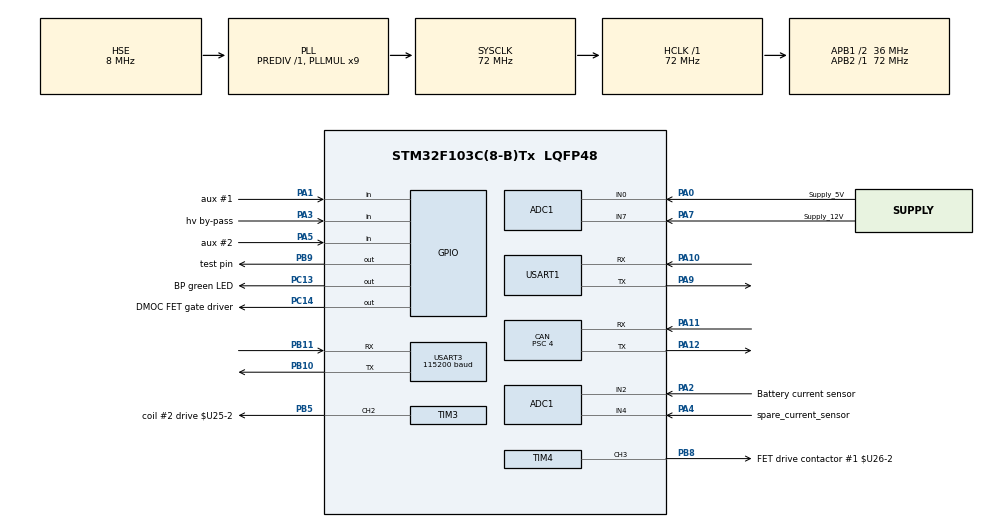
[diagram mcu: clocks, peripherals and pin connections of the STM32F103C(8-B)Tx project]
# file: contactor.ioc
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ADC1.Channel-0\#ChannelRegularConversion=ADC_CHANNEL_0
ADC1.Channel-1\#ChannelRegularConversion=ADC_CHANNEL_2
ADC1.Channel-2\#ChannelRegularConversion=ADC_CHANNEL_4
ADC1.Channel-3\#ChannelRegularConversion=ADC_CHANNEL_7
ADC1.Channel-4\#ChannelRegularConversion=ADC_CHANNEL_TEMPSENSOR
ADC1.Channel-5\#ChannelRegularConversion=ADC_CHANNEL_VREFINT
ADC1.ContinuousConvMode=ENABLE
ADC1.InjNumberOfConversion=0
ADC1.NbrOfConversion=6
ADC1.NbrOfConversionFlag=1
ADC1.Rank-0\#ChannelRegularConversion=1
ADC1.Rank-1\#ChannelRegularConversion=2
ADC1.Rank-2\#ChannelRegularConversion=3
ADC1.Rank-3\#ChannelRegularConversion=4
ADC1.Rank-4\#ChannelRegularConversion=5
ADC1.Rank-5\#ChannelRegularConversion=6
ADC1.SamplingTime-0\#ChannelRegularConversion=ADC_SAMPLETIME_28CYCLES_5
ADC1.SamplingTime-1\#ChannelRegularConversion=ADC_SAMPLETIME_28CYCLES_5
ADC1.SamplingTime-2\#ChannelRegularConversion=ADC_SAMPLETIME_28CYCLES_5
ADC1.SamplingTime-3\#ChannelRegularConversion=ADC_SAMPLETIME_28CYCLES_5
ADC1.SamplingTime-4\#ChannelRegularConversion=ADC_SAMPLETIME_239CYCLES_5
ADC1.SamplingTime-5\#ChannelRegularConversion=ADC_SAMPLETIME_239CYCLES_5
ADC1.master=1
CAN.BS1=CAN_BS1_12TQ
CAN.BS2=CAN_BS2_5TQ
CAN.CalculateTimeBit=2000
CAN.CalculateTimeQuantum=111.11111111111111
CAN.Prescaler=4
CAN.SJW=CAN_SJW_2TQ
Dma.ADC1.2.Direction=DMA_PERIPH_TO_MEMORY
Dma.ADC1.2.Instance=DMA1_Channel1
Dma.ADC1.2.MemDataAlignment=DMA_MDATAALIGN_HALFWORD
Dma.ADC1.2.MemInc=DMA_MINC_ENABLE
Dma.ADC1.2.Mode=DMA_CIRCULAR
Dma.ADC1.2.PeriphDataAlignment=DMA_PDATAALIGN_HALFWORD
Dma.ADC1.2.PeriphInc=DMA_PINC_DISABLE
Dma.ADC1.2.Priority=DMA_PRIORITY_LOW
Dma.Request0=USART1_RX
Dma.Request1=USART1_TX
Dma.Request2=ADC1
Dma.USART1_RX.0.Direction=DMA_PERIPH_TO_MEMORY
Dma.USART1_RX.0.Instance=DMA1_Channel5
Dma.USART1_RX.0.MemDataAlignment=DMA_MDATAALIGN_BYTE
Dma.USART1_RX.0.MemInc=DMA_MINC_ENABLE
Dma.USART1_RX.0.Mode=DMA_CIRCULAR
Dma.USART1_RX.0.PeriphDataAlignment=DMA_PDATAALIGN_BYTE
Dma.USART1_RX.0.PeriphInc=DMA_PINC_DISABLE
Dma.USART1_RX.0.Priority=DMA_PRIORITY_LOW
Dma.USART1_TX.1.Direction=DMA_MEMORY_TO_PERIPH
Dma.USART1_TX.1.Instance=DMA1_Channel4
Dma.USART1_TX.1.MemDataAlignment=DMA_MDATAALIGN_BYTE
Dma.USART1_TX.1.MemInc=DMA_MINC_ENABLE
Dma.USART1_TX.1.Mode=DMA_NORMAL
Dma.USART1_TX.1.PeriphDataAlignment=DMA_PDATAALIGN_BYTE
Dma.USART1_TX.1.PeriphInc=DMA_PINC_DISABLE
Dma.USART1_TX.1.Priority=DMA_PRIORITY_LOW
FREERTOS.INCLUDE_uxTaskGetStackHighWaterMark=1
FREERTOS.INCLUDE_xTaskGetCurrentTaskHandle=1
FREERTOS.INCLUDE_xTaskGetHandle=1
FREERTOS.MEMORY_ALLOCATION=2
FREERTOS.Tasks01=defaultTask,-3,304,StartDefaultTask,Default,NULL,Dynamic,NULL,NULL
FREERTOS.configCHECK_FOR_STACK_OVERFLOW=2
FREERTOS.configTOTAL_HEAP_SIZE=7200
FREERTOS.configUSE_TIMERS=1
Mcu.Family=STM32F1
Mcu.Name=STM32F103C(8-B)Tx
Mcu.Package=LQFP48
NVIC.CAN1_RX1_IRQn=true\:6\:0\:true\:false\:true\:true\:true
NVIC.DMA1_Channel1_IRQn=true\:5\:0\:false\:false\:true\:true\:false
NVIC.DMA1_Channel4_IRQn=true\:5\:0\:false\:false\:true\:true\:false
NVIC.DMA1_Channel5_IRQn=true\:5\:0\:true\:false\:true\:true\:false
NVIC.PriorityGroup=NVIC_PRIORITYGROUP_4
NVIC.TIM2_IRQn=true\:0\:0\:false\:false\:true\:false\:false
NVIC.TimeBase=TIM2_IRQn
NVIC.TimeBaseIP=TIM2
NVIC.USART1_IRQn=true\:10\:0\:true\:false\:true\:true\:true
NVIC.USART3_IRQn=true\:9\:0\:true\:false\:true\:true\:true
NVIC.USB_HP_CAN1_TX_IRQn=true\:6\:0\:true\:false\:true\:true\:true
NVIC.USB_LP_CAN1_RX0_IRQn=true\:6\:0\:true\:false\:true\:true\:true
PA0-WKUP.GPIO_Label=Supply_5V
PA0-WKUP.GPIO_Mode=GPIO_MODE_ANALOG
PA0-WKUP.Signal=ADCx_IN0
PA1.GPIO_Label=aux \#1
PA1.GPIO_PuPd=GPIO_PULLUP
PA1.Signal=GPIO_Input
PA10.Mode=Asynchronous
PA10.Signal=USART1_RX
PA11.Mode=Master
PA11.Signal=CAN_RX
PA12.Mode=Master
PA12.Signal=CAN_TX
PA13.Mode=Serial_Wire
PA13.Signal=SYS_JTMS-SWDIO
PA14.Mode=Serial_Wire
PA14.Signal=SYS_JTCK-SWCLK
PA2.GPIO_Label=Battery current sensor
PA2.Signal=ADCx_IN2
PA3.GPIO_Label=hv by-pass
PA3.GPIO_PuPd=GPIO_PULLUP
PA3.Signal=GPIO_Input
PA4.GPIO_Label=spare_current_sensor
PA4.Signal=ADCx_IN4
PA5.GPIO_Label=aux \#2
PA5.GPIO_PuPd=GPIO_PULLUP
PA5.Signal=GPIO_Input
PA7.GPIO_Label=Supply_12V
PA7.GPIO_Mode=GPIO_MODE_ANALOG
PA7.Signal=ADCx_IN7
PA9.Mode=Asynchronous
PA9.Signal=USART1_TX
PB10.Mode=Asynchronous
PB10.Signal=USART3_TX
PB11.GPIO_PuPd=GPIO_NOPULL
PB11.Mode=Asynchronous
PB11.Signal=USART3_RX
PB5.GPIO_Label=coil \#2 drive $U25-2
PB5.Signal=S_TIM3_CH2
PB8.GPIO_Label=FET drive contactor \#1 $U26-2
PB8.Signal=S_TIM4_CH3
PB9.GPIO_Label=test pin
PB9.Signal=GPIO_Output
PC13-TAMPER-RTC.GPIO_Label=BP green LED
PC13-TAMPER-RTC.Signal=GPIO_Output
PC14-OSC32_IN.GPIO_Label=DMOC FET gate driver
PC14-OSC32_IN.Signal=GPIO_Output
PD0-OSC_IN.Mode=HSE-External-Oscillator
PD0-OSC_IN.Signal=RCC_OSC_IN
PD1-OSC_OUT.Mode=HSE-External-Oscillator
PD1-OSC_OUT.Signal=RCC_OSC_OUT
ProjectManager.HeapSize=0x200
ProjectManager.StackSize=0x400
ProjectManager.TargetToolchain=Makefile
RCC.ADCPresc=RCC_ADCPCLK2_DIV6
RCC.AHBFreq_Value=72000000
RCC.APB1CLKDivider=RCC_HCLK_DIV2
RCC.APB1Freq_Value=36000000
RCC.APB1TimFreq_Value=72000000
RCC.APB2Freq_Value=72000000
RCC.APB2TimFreq_Value=72000000
RCC.HCLKFreq_Value=72000000
RCC.PLLMUL=RCC_PLL_MUL9
RCC.PLLSourceVirtual=RCC_PLLSOURCE_HSE
RCC.SYSCLKFreq_VALUE=72000000
RCC.SYSCLKSource=RCC_SYSCLKSOURCE_PLLCLK
RCC.USBFreq_Value=72000000
SH.ADCx_IN0.0=ADC1_IN0,IN0
SH.ADCx_IN2.0=ADC1_IN2,IN2
SH.ADCx_IN4.0=ADC1_IN4,IN4
SH.ADCx_IN7.0=ADC1_IN7,IN7
SH.S_TIM3_CH2.0=TIM3_CH2,PWM Generation2 CH2
SH.S_TIM4_CH3.0=TIM4_CH3,PWM Generation3 CH3
TIM1.Channel-Output\ Compare1\ No\ Output=TIM_CHANNEL_1
TIM1.Channel-Output\ Compare2\ No\ Output=TIM_CHANNEL_2
TIM1.Channel-Output\ Compare3\ No\ Output=TIM_CHANNEL_3
TIM1.Channel-Output\ Compare4\ No\ Output=TIM_CHANNEL_4
TIM1.Prescaler=36000
TIM3.Channel-PWM\ Generation2\ CH2=TIM_CHANNEL_2
TIM3.Period=14400-1
TIM4.AutoReloadPreload=TIM_AUTORELOAD_PRELOAD_DISABLE
TIM4.Channel-PWM\ Generation3\ CH3=TIM_CHANNEL_3
TIM4.Period=14400-1
USART1.VirtualMode=VM_ASYNC
USART3.BaudRate=115200
USART3.Mode=MODE_RX
USART3.VirtualMode=VM_ASYNC
VP_ADC1_TempSens_Input.Mode=IN-TempSens
VP_ADC1_Vref_Input.Mode=IN-Vrefint
VP_FREERTOS_VS_ENABLE.Mode=Enabled
VP_SYS_VS_tim2.Mode=TIM2
VP_TIM1_VS_ClockSourceINT.Mode=Internal
VP_TIM1_VS_no_output1.Mode=Output Compare1 No Output
VP_TIM1_VS_no_output2.Mode=Output Compare2 No Output
VP_TIM1_VS_no_output3.Mode=Output Compare3 No Output
VP_TIM1_VS_no_output4.Mode=Output Compare4 No Output
VP_TIM3_VS_ClockSourceINT.Mode=Internal
VP_TIM4_VS_ClockSourceINT.Mode=Internal
board=custom

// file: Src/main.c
/* USER CODE BEGIN Header */
/**
  ******************************************************************************
  * @file           : main.c
  * @brief          : Main program body
  ******************************************************************************
  * This notice applies to any and all portions of this file
  * that are not between comment pairs USER CODE BEGIN and
  * USER CODE END. Other portions of this file, whether
  * inserted by the user or by software development tools
  * are owned by their respective copyright owners.
  *
  * Copyright (c) 2019 STMicroelectronics International N.V.
  * All rights reserved.
  *
  * Redistribution and use in source and binary forms, with or without
  * modification, are permitted, provided that the following conditions are met:
  *
  * 1. Redistribution of source code must retain the above copyright notice,
  *    this list of conditions and the following disclaimer.
  * 2. Redistributions in binary form must reproduce the above copyright notice,
  *    this list of conditions and the following disclaimer in the documentation
  *    and/or other materials provided with the distribution.
  * 3. Neither the name of STMicroelectronics nor the names of other
  *    contributors to this software may be used to endorse or promote products
  *    derived from this software without specific written permission.
  * 4. This software, including modifications and/or derivative works of this
  *    software, must execute solely and exclusively on microcontroller or
  *    microprocessor devices manufactured by or for STMicroelectronics.
  * 5. Redistribution and use of this software other than as permitted under
  *    this license is void and will automatically terminate your rights under
  *    this license.
  *
  * THIS SOFTWARE IS PROVIDED BY STMICROELECTRONICS AND CONTRIBUTORS "AS IS"
  * AND ANY EXPRESS, IMPLIED OR STATUTORY WARRANTIES, INCLUDING, BUT NOT
  * LIMITED TO, THE IMPLIED WARRANTIES OF MERCHANTABILITY, FITNESS FOR A
  * PARTICULAR PURPOSE AND NON-INFRINGEMENT OF THIRD PARTY INTELLECTUAL PROPERTY
  * RIGHTS ARE DISCLAIMED TO THE FULLEST EXTENT PERMITTED BY LAW. IN NO EVENT
  * SHALL STMICROELECTRONICS OR CONTRIBUTORS BE LIABLE FOR ANY DIRECT, INDIRECT,
  * INCIDENTAL, SPECIAL, EXEMPLARY, OR CONSEQUENTIAL DAMAGES (INCLUDING, BUT NOT
  * LIMITED TO, PROCUREMENT OF SUBSTITUTE GOODS OR SERVICES; LOSS OF USE, DATA,
  * OR PROFITS; OR BUSINESS INTERRUPTION) HOWEVER CAUSED AND ON ANY THEORY OF
  * LIABILITY, WHETHER IN CONTRACT, STRICT LIABILITY, OR TORT (INCLUDING
  * NEGLIGENCE OR OTHERWISE) ARISING IN ANY WAY OUT OF THE USE OF THIS SOFTWARE,
  * EVEN IF ADVISED OF THE POSSIBILITY OF SUCH DAMAGE.
  *
  ******************************************************************************
  */
/* USER CODE END Header */

#include "main.h"
#include "cmsis_os.h"

/* USER CODE BEGIN Includes */

#include "stm32f1xx_hal.h"
#include <string.h>
#include "SerialTaskSend.h"
#include "SerialTaskReceive.h"
#include "CanTask.h"
#include "can_iface.h"
#include "canfilter_setup.h"
#include "getserialbuf.h"
#include "stackwatermark.h"
#include "yprintf.h"
#include "gateway_comm.h"
#include "gateway_CANtoPC.h"
#include "DTW_counter.h"
#include "yscanf.h"
#include "adctask.h"
#include "ADCTask.h"
#include "adcparams.h"
#include "adcparamsinit.h"
#include "gateway_PCtoCAN.h"
#include "morse.h"
#include "MailboxTask.h"
#include "GatewayTask.h"
#include "ContactorTask.h"

/* USER CODE END Includes */

/* USER CODE BEGIN PTD */
struct CAN_CTLBLOCK* pctl0;	// Pointer to CAN1 control block

uint32_t debugTX1c;
uint32_t debugTX1c_prev;

uint32_t debug03;
uint32_t debug03_prev;

extern osThreadId SerialTaskHandle;
extern osThreadId SerialTaskReceiveHandle;
extern osThreadId CanTxTaskHandle;
extern osThreadId CanRxTaskHandle;
extern osThreadId GatewayTaskHandle;
extern osThreadId ADCTaskHandle;

uint16_t m_trap = 440;

uint8_t canflag;
uint8_t canflag1;

/* USER CODE END PTD */

ADC_HandleTypeDef hadc1;
DMA_HandleTypeDef hdma_adc1;

CAN_HandleTypeDef hcan;

TIM_HandleTypeDef htim1;
TIM_HandleTypeDef htim3;
TIM_HandleTypeDef htim4;

UART_HandleTypeDef huart1;
UART_HandleTypeDef huart3;
DMA_HandleTypeDef hdma_usart1_rx;
DMA_HandleTypeDef hdma_usart1_tx;

osThreadId defaultTaskHandle;

void SystemClock_Config(void);
static void MX_GPIO_Init(void);
static void MX_DMA_Init(void);
static void MX_CAN_Init(void);
static void MX_USART3_UART_Init(void);
static void MX_USART1_UART_Init(void);
static void MX_ADC1_Init(void);
static void MX_TIM4_Init(void);
static void MX_TIM1_Init(void);
static void MX_TIM3_Init(void);
void StartDefaultTask(void const * argument);

int main(void)
{
  /* USER CODE BEGIN 1 */
	BaseType_t ret;	   // Used for returns from function calls
	osMessageQId Qidret; // Function call return
	osThreadId Thrdret;
  /* USER CODE END 1 */

  /* MCU Configuration--------------------------------------------------------*/

  /* Reset of all peripherals, Initializes the Flash interface and the Systick. */
  HAL_Init();

  /* USER CODE BEGIN Init */
	DTW_counter_init();
  /* USER CODE END Init */

  /* Configure the system clock */
  SystemClock_Config();

  /* Initialize all configured peripherals */
  MX_GPIO_Init();
  MX_DMA_Init();
  MX_CAN_Init();
  MX_USART3_UART_Init();
  MX_USART1_UART_Init();
  MX_ADC1_Init();
  MX_TIM4_Init();
  MX_TIM1_Init();
  MX_TIM3_Init();
  /* USER CODE BEGIN 2 */

	if (hcan.ErrorCode != HAL_CAN_ERROR_NONE)
	{ // CAN init returned with an error
		if ((hcan.ErrorCode & HAL_CAN_ERROR_TIMEOUT) != 0)
			morse_trap(61);
		else
			morse_trap(62);
	}

  /* USER CODE END 2 */

  /* Create the thread(s) */
  /* definition and creation of defaultTask */
  osThreadDef(defaultTask, StartDefaultTask, osPriorityIdle, 0, 304);
  defaultTaskHandle = osThreadCreate(osThread(defaultTask), NULL);

  /* USER CODE BEGIN RTOS_THREADS */
  /* add threads, ... */
/* =================================================== */

	/* Create serial task (priority) */
	// Task handle "osThreadId SerialTaskHandle" is global
	Thrdret = xSerialTaskSendCreate(0);	// Create task and set Task priority
	if (Thrdret == NULL) morse_trap(17);

	/* Add bcb circular buffer to SerialTaskSend for usart1 */
	#define NUMCIRBCB1  16 // Size of circular buffer of BCB for usart6
	ret = xSerialTaskSendAdd(&huart1, NUMCIRBCB1, 1); // dma
	if (ret < 0) morse_trap(1); // Panic LED flashing

	/* Add bcb circular buffer to SerialTaskSend for usart3 */
	#define NUMCIRBCB3  16 // Size of circular buffer of BCB for usart3
	ret = xSerialTaskSendAdd(&huart3, NUMCIRBCB3, 0); // char-by-char
	if (ret < 0) morse_trap(2); // Panic LED flashing

	/* Setup semaphore for yprint and sprintf et al. */
	yprintf_init();

	/* Create serial receiving task. */
	Thrdret = xSerialTaskReceiveCreate(1);
	if (Thrdret == NULL) morse_trap(21);

  /* definition and creation of CanTxTask - CAN driver TX interface. */
  Qidret = xCanTxTaskCreate(1, 32); // CanTask priority, Number of msgs in queue
	if (Qidret < 0) morse_trap(5);   // Queue creation
	if (CanTxTaskHandle == NULL) morse_trap(51); // Task creation

  /* definition and creation of CanRxTask - CAN driver RX interface. */
//  Qidret = xCanRxTaskCreate(1, 32); // CanTask priority, Number of msgs in extern osThreadId SerialTaskReceiveHandle;queue
//	if (Qidret < 0) morse_trap(6);     // Queue creation
//	if (CanRxTaskHandle == NULL) morse_trap(61); // Task creation

	/* Setup TX linked list for CAN  */
   // CAN1 (CAN_HandleTypeDef *phcan, uint8_t canidx, uint16_t numtx, uint16_t numrx);
	pctl0 = can_iface_init(&hcan, 0, 32, 64);
	if (pctl0 == NULL) morse_trap(7); // Panic LED flashing
	if (pctl0->ret < 0) morse_trap(77);

	/* Setup CAN hardware filters to default to accept all ids. */
	HAL_StatusTypeDef Cret;
	Cret = canfilter_setup_first(1, &hcan, 15); // CAN1
	if (Cret == HAL_ERROR) morse_trap(9);

	/* Remove "accept all" CAN msgs and add specific id & mask, or id here. */
	// See canfilter_setup.h

	/* Contactor control. */
	Thrdret = xContactorTaskCreate(1);
	if (Thrdret == NULL) morse_trap(18);

	/* Create MailboxTask */
	Thrdret = xMailboxTaskCreate(3);
	if (Thrdret == NULL) morse_trap(19);

	/* Create Mailbox control block w 'take' pointer for each CAN module. */
	struct MAILBOXCANNUM* pmbxret;
	// (CAN1 control block pointer, size of circular buffer)
	pmbxret = MailboxTask_add_CANlist(pctl0, 16);
	if (pmbxret == NULL) morse_trap(16);

	/* Select interrupts for CAN1 */
	HAL_CAN_ActivateNotification(&hcan, \
		CAN_IT_TX_MAILBOX_EMPTY     |  \
		CAN_IT_RX_FIFO0_MSG_PENDING |  \
		CAN_IT_RX_FIFO1_MSG_PENDING    );

	/* Start CANs */
	HAL_CAN_Start(&hcan); // CAN1

	/* ADC summing, calibration, etc. */
	Thrdret = 	xADCTaskCreate(2);
	if (Thrdret == NULL) morse_trap(20);

/* =================================================== */

  /* USER CODE END RTOS_THREADS */

  /* Start scheduler */
  osKernelStart();

  /* We should never get here as control is now taken by the scheduler */

  /* Infinite loop */
  while (1)
  {

  }
}

void SystemClock_Config(void)
{
  RCC_OscInitTypeDef RCC_OscInitStruct = {0};
  RCC_ClkInitTypeDef RCC_ClkInitStruct = {0};
  RCC_PeriphCLKInitTypeDef PeriphClkInit = {0};

  /**Initializes the CPU, AHB and APB busses clocks
  */
  RCC_OscInitStruct.OscillatorType = RCC_OSCILLATORTYPE_HSE;
  RCC_OscInitStruct.HSEState = RCC_HSE_ON;
  RCC_OscInitStruct.HSEPredivValue = RCC_HSE_PREDIV_DIV1;
  RCC_OscInitStruct.HSIState = RCC_HSI_ON;
  RCC_OscInitStruct.PLL.PLLState = RCC_PLL_ON;
  RCC_OscInitStruct.PLL.PLLSource = RCC_PLLSOURCE_HSE;
  RCC_OscInitStruct.PLL.PLLMUL = RCC_PLL_MUL9;
  if (HAL_RCC_OscConfig(&RCC_OscInitStruct) != HAL_OK)
  {
    Error_Handler();
  }
  /**Initializes the CPU, AHB and APB busses clocks
  */
  RCC_ClkInitStruct.ClockType = RCC_CLOCKTYPE_HCLK|RCC_CLOCKTYPE_SYSCLK
                              |RCC_CLOCKTYPE_PCLK1|RCC_CLOCKTYPE_PCLK2;
  RCC_ClkInitStruct.SYSCLKSource = RCC_SYSCLKSOURCE_PLLCLK;
  RCC_ClkInitStruct.AHBCLKDivider = RCC_SYSCLK_DIV1;
  RCC_ClkInitStruct.APB1CLKDivider = RCC_HCLK_DIV2;
  RCC_ClkInitStruct.APB2CLKDivider = RCC_HCLK_DIV1;

  if (HAL_RCC_ClockConfig(&RCC_ClkInitStruct, FLASH_LATENCY_2) != HAL_OK)
  {
    Error_Handler();
  }
  PeriphClkInit.PeriphClockSelection = RCC_PERIPHCLK_ADC;
  PeriphClkInit.AdcClockSelection = RCC_ADCPCLK2_DIV6;
  if (HAL_RCCEx_PeriphCLKConfig(&PeriphClkInit) != HAL_OK)
  {
    Error_Handler();
  }
}

static void MX_ADC1_Init(void)
{

  /* USER CODE BEGIN ADC1_Init 0 */
	m_trap = 447; // morse_trap(447);
  /* USER CODE END ADC1_Init 0 */

  ADC_ChannelConfTypeDef sConfig = {0};

  /**Common config
  */
  hadc1.Instance = ADC1;
  hadc1.Init.ScanConvMode = ADC_SCAN_ENABLE;
  hadc1.Init.ContinuousConvMode = ENABLE;
  hadc1.Init.DiscontinuousConvMode = DISABLE;
  hadc1.Init.ExternalTrigConv = ADC_SOFTWARE_START;
  hadc1.Init.DataAlign = ADC_DATAALIGN_RIGHT;
  hadc1.Init.NbrOfConversion = 6;
  if (HAL_ADC_Init(&hadc1) != HAL_OK)
  {
    Error_Handler();
  }
  /**Configure Regular Channel
  */
  sConfig.Channel = ADC_CHANNEL_0;
  sConfig.Rank = ADC_REGULAR_RANK_1;
  sConfig.SamplingTime = ADC_SAMPLETIME_28CYCLES_5;
  if (HAL_ADC_ConfigChannel(&hadc1, &sConfig) != HAL_OK)
  {
    Error_Handler();
  }
  /**Configure Regular Channel
  */
  sConfig.Channel = ADC_CHANNEL_2;
  sConfig.Rank = ADC_REGULAR_RANK_2;
  if (HAL_ADC_ConfigChannel(&hadc1, &sConfig) != HAL_OK)
  {
    Error_Handler();
  }
  /**Configure Regular Channel
  */
  sConfig.Channel = ADC_CHANNEL_4;
  sConfig.Rank = ADC_REGULAR_RANK_3;
  if (HAL_ADC_ConfigChannel(&hadc1, &sConfig) != HAL_OK)
  {
    Error_Handler();
  }
  /**Configure Regular Channel
  */
  sConfig.Channel = ADC_CHANNEL_7;
  sConfig.Rank = ADC_REGULAR_RANK_4;
  if (HAL_ADC_ConfigChannel(&hadc1, &sConfig) != HAL_OK)
  {
    Error_Handler();
  }
  /**Configure Regular Channel
  */
  sConfig.Channel = ADC_CHANNEL_TEMPSENSOR;
  sConfig.Rank = ADC_REGULAR_RANK_5;
  sConfig.SamplingTime = ADC_SAMPLETIME_239CYCLES_5;
  if (HAL_ADC_ConfigChannel(&hadc1, &sConfig) != HAL_OK)
  {
    Error_Handler();
  }
  /**Configure Regular Channel
  */
  sConfig.Channel = ADC_CHANNEL_VREFINT;
  sConfig.Rank = ADC_REGULAR_RANK_6;
  if (HAL_ADC_ConfigChannel(&hadc1, &sConfig) != HAL_OK)
  {
    Error_Handler();
  }

}

static void MX_CAN_Init(void)
{

  /* USER CODE BEGIN CAN_Init 0 */
	m_trap = 446; // morse_trap(446);
  /* USER CODE END CAN_Init 0 */

  hcan.Instance = CAN1;
  hcan.Init.Prescaler = 4;
  hcan.Init.Mode = CAN_MODE_NORMAL;
  hcan.Init.SyncJumpWidth = CAN_SJW_2TQ;
  hcan.Init.TimeSeg1 = CAN_BS1_12TQ;
  hcan.Init.TimeSeg2 = CAN_BS2_5TQ;
  hcan.Init.TimeTriggeredMode = DISABLE;
  hcan.Init.AutoBusOff = DISABLE;
  hcan.Init.AutoWakeUp = DISABLE;
  hcan.Init.AutoRetransmission = DISABLE;
  hcan.Init.ReceiveFifoLocked = DISABLE;
  hcan.Init.TransmitFifoPriority = DISABLE;
  if (HAL_CAN_Init(&hcan) != HAL_OK)
  {
    Error_Handler();
  }

}

static void MX_TIM1_Init(void)
{

  /* USER CODE BEGIN TIM1_Init 0 */
	m_trap = 445; // morse_trap(445);
  /* USER CODE END TIM1_Init 0 */

  TIM_ClockConfigTypeDef sClockSourceConfig = {0};
  TIM_MasterConfigTypeDef sMasterConfig = {0};
  TIM_OC_InitTypeDef sConfigOC = {0};
  TIM_BreakDeadTimeConfigTypeDef sBreakDeadTimeConfig = {0};

  htim1.Instance = TIM1;
  htim1.Init.Prescaler = 36000;
  htim1.Init.CounterMode = TIM_COUNTERMODE_UP;
  htim1.Init.Period = 0;
  htim1.Init.ClockDivision = TIM_CLOCKDIVISION_DIV1;
  htim1.Init.RepetitionCounter = 0;
  htim1.Init.AutoReloadPreload = TIM_AUTORELOAD_PRELOAD_DISABLE;
  if (HAL_TIM_Base_Init(&htim1) != HAL_OK)
  {
    Error_Handler();
  }
  sClockSourceConfig.ClockSource = TIM_CLOCKSOURCE_INTERNAL;
  if (HAL_TIM_ConfigClockSource(&htim1, &sClockSourceConfig) != HAL_OK)
  {
    Error_Handler();
  }
  if (HAL_TIM_OC_Init(&htim1) != HAL_OK)
  {
    Error_Handler();
  }
  sMasterConfig.MasterOutputTrigger = TIM_TRGO_RESET;
  sMasterConfig.MasterSlaveMode = TIM_MASTERSLAVEMODE_DISABLE;
  if (HAL_TIMEx_MasterConfigSynchronization(&htim1, &sMasterConfig) != HAL_OK)
  {
    Error_Handler();
  }
  sConfigOC.OCMode = TIM_OCMODE_TIMING;
  sConfigOC.Pulse = 0;
  sConfigOC.OCPolarity = TIM_OCPOLARITY_HIGH;
  sConfigOC.OCNPolarity = TIM_OCNPOLARITY_HIGH;
  sConfigOC.OCFastMode = TIM_OCFAST_DISABLE;
  sConfigOC.OCIdleState = TIM_OCIDLESTATE_RESET;
  sConfigOC.OCNIdleState = TIM_OCNIDLESTATE_RESET;
  if (HAL_TIM_OC_ConfigChannel(&htim1, &sConfigOC, TIM_CHANNEL_1) != HAL_OK)
  {
    Error_Handler();
  }
  if (HAL_TIM_OC_ConfigChannel(&htim1, &sConfigOC, TIM_CHANNEL_2) != HAL_OK)
  {
    Error_Handler();
  }
  if (HAL_TIM_OC_ConfigChannel(&htim1, &sConfigOC, TIM_CHANNEL_3) != HAL_OK)
  {
    Error_Handler();
  }
  if (HAL_TIM_OC_ConfigChannel(&htim1, &sConfigOC, TIM_CHANNEL_4) != HAL_OK)
  {
    Error_Handler();
  }
  sBreakDeadTimeConfig.OffStateRunMode = TIM_OSSR_DISABLE;
  sBreakDeadTimeConfig.OffStateIDLEMode = TIM_OSSI_DISABLE;
  sBreakDeadTimeConfig.LockLevel = TIM_LOCKLEVEL_OFF;
  sBreakDeadTimeConfig.DeadTime = 0;
  sBreakDeadTimeConfig.BreakState = TIM_BREAK_DISABLE;
  sBreakDeadTimeConfig.BreakPolarity = TIM_BREAKPOLARITY_HIGH;
  sBreakDeadTimeConfig.AutomaticOutput = TIM_AUTOMATICOUTPUT_DISABLE;
  if (HAL_TIMEx_ConfigBreakDeadTime(&htim1, &sBreakDeadTimeConfig) != HAL_OK)
  {
    Error_Handler();
  }

}

static void MX_TIM3_Init(void)
{

  /* USER CODE BEGIN TIM3_Init 0 */
	m_trap = 444; // morse_trap(444);
  /* USER CODE END TIM3_Init 0 */

  TIM_ClockConfigTypeDef sClockSourceConfig = {0};
  TIM_MasterConfigTypeDef sMasterConfig = {0};
  TIM_OC_InitTypeDef sConfigOC = {0};

  htim3.Instance = TIM3;
  htim3.Init.Prescaler = 0;
  htim3.Init.CounterMode = TIM_COUNTERMODE_UP;
  htim3.Init.Period = 14400-1;
  htim3.Init.ClockDivision = TIM_CLOCKDIVISION_DIV1;
  htim3.Init.AutoReloadPreload = TIM_AUTORELOAD_PRELOAD_DISABLE;
  if (HAL_TIM_Base_Init(&htim3) != HAL_OK)
  {
    Error_Handler();
  }
  sClockSourceConfig.ClockSource = TIM_CLOCKSOURCE_INTERNAL;
  if (HAL_TIM_ConfigClockSource(&htim3, &sClockSourceConfig) != HAL_OK)
  {
    Error_Handler();
  }
  if (HAL_TIM_PWM_Init(&htim3) != HAL_OK)
  {
    Error_Handler();
  }
  sMasterConfig.MasterOutputTrigger = TIM_TRGO_RESET;
  sMasterConfig.MasterSlaveMode = TIM_MASTERSLAVEMODE_DISABLE;
  if (HAL_TIMEx_MasterConfigSynchronization(&htim3, &sMasterConfig) != HAL_OK)
  {
    Error_Handler();
  }
  sConfigOC.OCMode = TIM_OCMODE_PWM1;
  sConfigOC.Pulse = 0;
  sConfigOC.OCPolarity = TIM_OCPOLARITY_HIGH;
  sConfigOC.OCFastMode = TIM_OCFAST_DISABLE;
  if (HAL_TIM_PWM_ConfigChannel(&htim3, &sConfigOC, TIM_CHANNEL_2) != HAL_OK)
  {
    Error_Handler();
  }
  HAL_TIM_MspPostInit(&htim3);

}

static void MX_TIM4_Init(void)
{

  /* USER CODE BEGIN TIM4_Init 0 */
	m_trap = 443; // morse_trap(443);
  /* USER CODE END TIM4_Init 0 */

  TIM_ClockConfigTypeDef sClockSourceConfig = {0};
  TIM_MasterConfigTypeDef sMasterConfig = {0};
  TIM_OC_InitTypeDef sConfigOC = {0};

  htim4.Instance = TIM4;
  htim4.Init.Prescaler = 0;
  htim4.Init.CounterMode = TIM_COUNTERMODE_UP;
  htim4.Init.Period = 14400-1;
  htim4.Init.ClockDivision = TIM_CLOCKDIVISION_DIV1;
  htim4.Init.AutoReloadPreload = TIM_AUTORELOAD_PRELOAD_DISABLE;
  if (HAL_TIM_Base_Init(&htim4) != HAL_OK)
  {
    Error_Handler();
  }
  sClockSourceConfig.ClockSource = TIM_CLOCKSOURCE_INTERNAL;
  if (HAL_TIM_ConfigClockSource(&htim4, &sClockSourceConfig) != HAL_OK)
  {
    Error_Handler();
  }
  if (HAL_TIM_PWM_Init(&htim4) != HAL_OK)
  {
    Error_Handler();
  }
  sMasterConfig.MasterOutputTrigger = TIM_TRGO_RESET;
  sMasterConfig.MasterSlaveMode = TIM_MASTERSLAVEMODE_DISABLE;
  if (HAL_TIMEx_MasterConfigSynchronization(&htim4, &sMasterConfig) != HAL_OK)
  {
    Error_Handler();
  }
  sConfigOC.OCMode = TIM_OCMODE_PWM1;
  sConfigOC.Pulse = 0;
  sConfigOC.OCPolarity = TIM_OCPOLARITY_HIGH;
  sConfigOC.OCFastMode = TIM_OCFAST_DISABLE;
  if (HAL_TIM_PWM_ConfigChannel(&htim4, &sConfigOC, TIM_CHANNEL_3) != HAL_OK)
  {
    Error_Handler();
  }
  HAL_TIM_MspPostInit(&htim4);

}

static void MX_USART1_UART_Init(void)
{

  /* USER CODE BEGIN USART1_Init 0 */
	m_trap = 442; // morse_trap(442);
  /* USER CODE END USART1_Init 0 */

  huart1.Instance = USART1;
  huart1.Init.BaudRate = 115200;
  huart1.Init.WordLength = UART_WORDLENGTH_8B;
  huart1.Init.StopBits = UART_STOPBITS_1;
  huart1.Init.Parity = UART_PARITY_NONE;
  huart1.Init.Mode = UART_MODE_TX_RX;
  huart1.Init.HwFlowCtl = UART_HWCONTROL_NONE;
  huart1.Init.OverSampling = UART_OVERSAMPLING_16;
  if (HAL_UART_Init(&huart1) != HAL_OK)
  {
    Error_Handler();
  }

}

static void MX_USART3_UART_Init(void)
{

  /* USER CODE BEGIN USART3_Init 0 */
	m_trap = 441; // morse_trap(441);
  /* USER CODE END USART3_Init 0 */

  huart3.Instance = USART3;
  huart3.Init.BaudRate = 115200;
  huart3.Init.WordLength = UART_WORDLENGTH_8B;
  huart3.Init.StopBits = UART_STOPBITS_1;
  huart3.Init.Parity = UART_PARITY_NONE;
  huart3.Init.Mode = UART_MODE_RX;
  huart3.Init.HwFlowCtl = UART_HWCONTROL_NONE;
  huart3.Init.OverSampling = UART_OVERSAMPLING_16;
  if (HAL_UART_Init(&huart3) != HAL_OK)
  {
    Error_Handler();
  }

}

static void MX_DMA_Init(void)
{
  /* DMA controller clock enable */
  __HAL_RCC_DMA1_CLK_ENABLE();

  /* DMA interrupt init */
  /* DMA1_Channel1_IRQn interrupt configuration */
  HAL_NVIC_SetPriority(DMA1_Channel1_IRQn, 5, 0);
  HAL_NVIC_EnableIRQ(DMA1_Channel1_IRQn);
  /* DMA1_Channel4_IRQn interrupt configuration */
  HAL_NVIC_SetPriority(DMA1_Channel4_IRQn, 5, 0);
  HAL_NVIC_EnableIRQ(DMA1_Channel4_IRQn);
  /* DMA1_Channel5_IRQn interrupt configuration */
  HAL_NVIC_SetPriority(DMA1_Channel5_IRQn, 5, 0);
  HAL_NVIC_EnableIRQ(DMA1_Channel5_IRQn);

}

static void MX_GPIO_Init(void)
{
  GPIO_InitTypeDef GPIO_InitStruct = {0};

  /* GPIO Ports Clock Enable */
  __HAL_RCC_GPIOC_CLK_ENABLE();
  __HAL_RCC_GPIOD_CLK_ENABLE();
  __HAL_RCC_GPIOA_CLK_ENABLE();
  __HAL_RCC_GPIOB_CLK_ENABLE();

  /*Configure GPIO pin Output Level */
  HAL_GPIO_WritePin(GPIOC, BP_green_LED_Pin|DMOC_FET_gate_driver_Pin, GPIO_PIN_RESET);

  /*Configure GPIO pin Output Level */
  HAL_GPIO_WritePin(test_pin_GPIO_Port, test_pin_Pin, GPIO_PIN_RESET);

  /*Configure GPIO pins : BP_green_LED_Pin DMOC_FET_gate_driver_Pin */
  GPIO_InitStruct.Pin = BP_green_LED_Pin|DMOC_FET_gate_driver_Pin;
  GPIO_InitStruct.Mode = GPIO_MODE_OUTPUT_PP;
  GPIO_InitStruct.Pull = GPIO_NOPULL;
  GPIO_InitStruct.Speed = GPIO_SPEED_FREQ_LOW;
  HAL_GPIO_Init(GPIOC, &GPIO_InitStruct);

  /*Configure GPIO pins : aux__1_Pin hv_by_pass_Pin aux__2_Pin */
  GPIO_InitStruct.Pin = aux__1_Pin|hv_by_pass_Pin|aux__2_Pin;
  GPIO_InitStruct.Mode = GPIO_MODE_INPUT;
  GPIO_InitStruct.Pull = GPIO_PULLUP;
  HAL_GPIO_Init(GPIOA, &GPIO_InitStruct);

  /*Configure GPIO pin : test_pin_Pin */
  GPIO_InitStruct.Pin = test_pin_Pin;
  GPIO_InitStruct.Mode = GPIO_MODE_OUTPUT_PP;
  GPIO_InitStruct.Pull = GPIO_NOPULL;
  GPIO_InitStruct.Speed = GPIO_SPEED_FREQ_LOW;
  HAL_GPIO_Init(test_pin_GPIO_Port, &GPIO_InitStruct);

}

void StartDefaultTask(void const * argument)
{

  /* USER CODE BEGIN 5 */
	struct SERIALSENDTASKBCB* pbuf1 = getserialbuf(&huart1,96);
	if (pbuf1 == NULL) morse_trap(11);

	int ctr = 0; // Running count
	uint32_t heapsize;

// Copy of fast sum of ADC readings
int i;

// Number ADC readings per sec: 1153-1154.
extern uint32_t adcsumdb[6];// DMA sums
//extern uint32_t adcdbctr; // ADC DMA sum counter
double dt1;

extern struct CONTACTORFUNCTION contactorfunction;
struct CONTACTORFUNCTION* pcf = &contactorfunction;

osDelay(50); // Allow ADC task to get these initialized

// Temperature precomputed ratio check
if (pcf->padc->intern.dx25 < 0.1) morse_trap(48);

//double dxdvref = pcf->padc->intern.dvref * (1.0/4.3E-3);
if (pcf->padc->intern.dxdvref < 0.1) morse_trap(49);

// DTW time duration checks
extern uint32_t adcdbg2;

extern uint32_t dbgCE1;
uint32_t dbgCE1_prev = dbgCE1;

#define LOOPDELAY 1000

  /* Infinite loop */
  for(;;)
  {
	osDelay(LOOPDELAY);
//while( (dbggpsflag-dbggpsflag_prev) == 0);
//dbggpsflag_prev = dbggpsflag;

	HAL_GPIO_TogglePin(GPIOC,GPIO_PIN_13); // LED Green

#define SHOWSTACKWATERMARK
#ifdef SHOWSTACKWATERMARK
			// Following takes 1370791 sysclock ticks 19.0 ms (includes serial port wait)
			/* Display the amount of unused stack space for tasks. */
			yprintf(&pbuf1,"\n\n\r#%4i Unused Task stack space--", ctr++);
			stackwatermark_show(defaultTaskHandle,&pbuf1,"defaultTask---");
			stackwatermark_show(SerialTaskHandle ,&pbuf1,"SerialTaskSend");
			stackwatermark_show(CanTxTaskHandle  ,&pbuf1,"CanTxTask-----");
	//		stackwatermark_show(CanRxTaskHandle  ,&pbuf1,"CanRxTask-----");
			stackwatermark_show(MailboxTaskHandle,&pbuf1,"MailboxTask---");
			stackwatermark_show(ADCTaskHandle    ,&pbuf1,"ADCTask-------");
 		 stackwatermark_show(ContactorTaskHandle,&pbuf1,"ContactorTask-");
	stackwatermark_show(SerialTaskReceiveHandle,&pbuf1,"SerialReceiveTask");

			/* Heap usage (and test fp woking. */
  #define HEAPSIZELIST
  #ifdef  HEAPSIZELIST
			heapsize = xPortGetFreeHeapSize();
			yprintf(&pbuf1,"\n\r#GetFreeHeapSize: total: %i free %i %3.1f%% used: %i\n\n\r",configTOTAL_HEAP_SIZE, heapsize,\
				100.0*(float)heapsize/configTOTAL_HEAP_SIZE,(configTOTAL_HEAP_SIZE-heapsize));
  #endif

#endif

#define SHOWSUMMEDADCCHANNELS
#ifdef  SHOWSUMMEDADCCHANNELS
		for (i = 0; i < 6; i++)
		{
			yprintf(&pbuf1,"%7i ",adcsumdb[i]); // This is what routines work with
		}
		yprintf(&pbuf1, " :%7i %8.1f\n\r ", pcf->padc->intern.adcfiltemp, (double)(pcf->padc->intern.adcfilvref)/pcf->padc->intern.iiradcvref.pprm->scale);
#endif

#define SHOWEXTENDEDSUMMEDADCCHANNELS
#ifdef  SHOWEXTENDEDSUMMEDADCCHANNELS
		yprintf(&pbuf1, "\n\r     5v    cur1    cur2     12v    temp    vref\n\rA ");
		// Following loop takes about 450000 sysclock ticks 6.2 ms (includes waits for serial port)
		for (i = 0; i < 6; i++)
		{
			yprintf(&pbuf1,"%8.1f",(double)(pcf->padc->chan[i].xsum[1])*(1.0/ADCEXTENDSUMCT));
		}
		yprintf(&pbuf1,"\n\r");
#endif

#define SHOWINTERNALTEMPERATURECALCULATIONS
#ifdef SHOWINTERNALTEMPERATURECALCULATIONS
	/* Internal temperature computation check. */
	// The following takes 1418 sysclock ticks
	dt1 = (pcf->padc->intern.dx25 - (pcf->padc->intern.dxdvref * ((double)pcf->padc->intern.adcfiltemp / (double)pcf->padc->intern.adcfilvref )))  + pcf->padc->lc.calintern.drmtemp;

	yprintf(&pbuf1,"\n\rT degC: (doubles)%6.2f %6.2f (scaled int)%i\n\r", dt1,(double)pcf->padc->intern.itemp/(1<<ADCSCALEbits), adcdbg2,pcf->padc->intern.adccmpvref);
#endif

//      pcf->padc->chan[ADC1IDX_5VOLTSUPPLY].ival,  pcf->padc->v5.adcfil,
//      pcf->padc->chan[ADC1IDX_12VRAWSUPPLY].ival, pcf->padc->v12.adcfil,
//#define SHOWADCDETAILS
#ifdef  SHOWADCDETAILS
	yprintf(&pbuf1,"\n\r%i %i %i %i %i %0.6f %0.4f : %0.4f\n\r",
      pcf->padc->v12.ival,
      pcf->padc->intern.adcfilvref,
      pcf->padc->intern.vref,
	   pcf->padc->v12.adcfil,
	   pcf->padc->lc.calintern.adcvdd,
      pcf->padc->v12.k,
      (pcf->padc->v12.k * (double)pcf->padc->v12.ival * (1.0/(1<<ADCSCALEbits))),
      pcf->padc->intern.dvref );

	yprintf(&pbuf1,"\n\rV v5: %0.3f  v12: %0.2f\n\r",
	  (pcf->padc->v5.k  * (double)pcf->padc->v5.ival  * (1.0/(1<<ADCSCALEbits))),
	  (pcf->padc->v12.k * (double)pcf->padc->v12.ival * (1.0/(1<<ADCSCALEbits))) );
#endif

#define SHOWHVUARTDATA
#ifdef  SHOWHVUARTDATA

yprintf(&pbuf1,"UART ctr: %i\n\ruart_hv%8i %9i %9i\n\r",dbgCE1-dbgCE1_prev,
  pcf->hv[0].hv,pcf->hv[1].hv,pcf->hv[2].hv);
dbgCE1_prev = dbgCE1;

/*
	double dscale;         // volts/tick
	double dhvc;           // HV calibrated
	uint32_t hvcal;        // Calibrated, scaled volts/adc tick
	uint32_t hvc;          // HV as scaled volts
	uint16_t hv;           // Raw ADC reading received from uart
*/
for (i = 0; i < 3; i++)
{
	pcf->hv[i].dhvc = (double)pcf->hv[i].dscale * (double)pcf->hv[i].hv;
}
yprintf(&pbuf1,"dscale%9.7f %9.7f %9.7f\n\r",pcf->hv[0].dscale,pcf->hv[1].dscale,pcf->hv[2].dscale);

yprintf(&pbuf1,"hvcal %9i %9i %9i\n\r",pcf->hv[0].hvcal,pcf->hv[1].hvcal,pcf->hv[2].hvcal);

yprintf(&pbuf1,"hvc   %9i %9i %9i\n\r",pcf->hv[0].hvc,pcf->hv[1].hvc,pcf->hv[2].hvc);

yprintf(&pbuf1,"hv    %9i %9i %9i\n\r",pcf->hv[0].hv,pcf->hv[1].hv,pcf->hv[2].hv);

yprintf(&pbuf1,"dhvc  %9.2f %9.2f %9.2f\n\r",pcf->hv[0].dhvc,pcf->hv[1].dhvc,pcf->hv[2].dhvc);

#endif

#define SHOWBATTERYLOWSTUFF
#ifdef  SHOWBATTERYLOWSTUFF

yprintf(&pbuf1,"ibattlow: %i  fbattlow: %0.2f  hv[0]: %i battnow: %0.2f\n\r",
   pcf->ibattlow, pcf->lc.fbattlow,
   pcf->hv[0].hv,
   (double)pcf->hv[0].dscale*(double)pcf->hv[0].hv);

yprintf(&pbuf1,"iprechgendv: %i hv[IDXHV3].hvc: %i\n\r",pcf->iprechgendv,pcf->hv[IDXHV3].hv);

#endif

#ifdef SHOWCANMSGCOUNTSATVARIOUSPOINTS
extern uint32_t dbgcantxctr;
extern uint32_t dbgcanrxctr;
uint32_t dbgcantxctr_prev = dbgcantxctr;
uint32_t dbgcanrxctr_prev = dbgcanrxctr;

extern uint32_t dbgmsg1ctr;
extern uint32_t dbgkactr;
uint32_t dbgmsg1ctr_prev = dbgmsg1ctr;
uint32_t dbgkactr_prev = dbgkactr;

extern uint32_t dbggpsflag;
uint32_t dbggpsflag_prev = dbggpsflag;;

uint32_t prev = 0;

extern uint32_t dbgmbxctr;
uint32_t dbgmbxctr_prev = dbgmbxctr;

extern uint32_t dbgev04;

yprintf(&pbuf1,"TIMER1 CT: %i rxct: %i txct: %i msg1ct: %i kact: %i diff: %i mbxctr: %i %i\n\r",dbgev04,dbgcanrxctr-dbgcanrxctr_prev, dbgcantxctr-dbgcantxctr_prev,
	dbgmsg1ctr-dbgmsg1ctr_prev,  dbgkactr-dbgkactr_prev,(int)(dbgcantxctr-dbgmsg1ctr),pcf->pmbx_cid_gps_sync->ctr-prev,dbgmbxctr-dbgmbxctr_prev);

dbgcanrxctr_prev = dbgcanrxctr;
dbgcantxctr_prev = dbgcantxctr;
dbgmsg1ctr_prev = dbgmsg1ctr;
dbgkactr_prev = dbgkactr;
prev = pcf->pmbx_cid_gps_sync->ctr;
dbgmbxctr_prev = dbgmbxctr;
#endif

//#define TESTHVBYPASSPIN
#ifdef  TESTHVBYPASSPIN
/* Should show '1' when jumper removed; '0' when present. */
int pin = 0;
if (HAL_GPIO_ReadPin(HVBYPASSPINPORT,  HVBYPASSPINPIN) == GPIO_PIN_SET) pin = 1;
yprintf(&pbuf1,"HV by-pass pin: %i\n\r",pin);
#endif

//#define TESTTHESHOLDPARAM
#ifdef  TESTTHESHOLDPARAM
int aa = (pcf->hv[IDXHV1].hvc - pcf->hv[IDXHV2].hvc);
if (aa < 0 ) aa = -aa;
int bb = pcf->iprechgendvb;
extern int dbgstmp;
yprintf (&pbuf1,"THRES: %7d %7d %7d %7d %7d\n\r",aa,bb,pcf->hv[IDXHV1].hvc,pcf->hv[IDXHV2].hvc,dbgstmp);
#endif

#define TESTRATIOMETRICCALIBRATION
#ifdef  TESTRATIOMETRICCALIBRATION
/*
struct ADCRATIOMETRIC
{
	struct IIRFILTERL iir;    // Intermediate filter params
	double drk5ke;    // Ratio k5/ke resistor dividers ratio (~1.0)
	double drko;      // Offset ratio: double (~0.5)
	double dscale;    // Scale factor
	uint32_t adcfil;  // Filtered ADC reading
	int32_t irk5ke;   // Ratio k5/ke ratio: scale int (~32768)
	int32_t irko;     // Offset ratio: scale int (~32768)
	int32_t iI;       // integer result w offset, not final scaling
}; */
yprintf(&pbuf1,"\n\rRATIOMETRIC: struct ADCRATIOMETRIC for cur1--\n\r");
yprintf(&pbuf1,"drko   %0.5f\n\rdscale %0.6f\n\r",
	pcf->padc->cur1.drko,    /* Offset ratio: double (~0.5)               */
	pcf->padc->cur1.dscale); /* Scale factor                              */
yprintf(&pbuf1,"adcfil %i\n\rirko   %i\n\riI     %i\n\r",
	pcf->padc->cur1.adcfil,  /* Filtered ADC reading                      */
	pcf->padc->cur1.irko,    /* Offset ratio: scale int (~32768)          */
	pcf->padc->cur1.iI );    /* integer result w offset, not final scaling*/

double dI = (pcf->padc->cur1.iI * pcf->padc->cur1.dscale) / (1<<ADCSCALEbits);
yprintf(&pbuf1,"calib %0.5f\n\r",dI);

// Debug
extern uint32_t dbgadcfil;
extern uint32_t dbgadcratio;
yprintf(&pbuf1,"dadcfil %i\n\rratio  %i\n\r",
dbgadcfil,
dbgadcratio);

yprintf(&pbuf1,"icurrentdisconnect %i iI %d\n\r",pcf->icurrentdisconnect,pcf->padc->cur1.iI);

#endif

#define TESTABSOLUTECALIBRATION
#ifdef  TESTABSOLUTECALIBRATION

double dt1 = ((double)pcf->padc->v5.ival * (1.0/(1<<ADCSCALEbits)) * pcf->padc->v5.dscale );
yprintf(&pbuf1,"v5--\n\radc v5  %i\n\rival    %i\n\rk       %8.6f\n\rdref   %9.6f\n\r",
pcf->padc->v5.adcfil,
pcf->padc->v5.ival,
pcf->padc->v5.k,
pcf->padc->intern.dvref);
yprintf(&pbuf1,"cmpvref %i\n\radcvref %i\n\rdscale  %8.6f\n\r5V %13.3f\n\r",
pcf->padc->intern.adccmpvref,
pcf->padc->intern.adcfilvref,
pcf->padc->v5.dscale,
dt1);

dt1 = ((double)pcf->padc->v12.ival * (1.0/(1<<ADCSCALEbits)) * pcf->padc->v12.dscale );
yprintf(&pbuf1,"v12--\n\radc v12 %i\n\rival    %i\n\rk       %8.6f\n\rdref   %9.6f\n\r",
pcf->padc->v12.adcfil,
pcf->padc->v12.ival,
pcf->padc->v12.k,
pcf->padc->intern.dvref);
yprintf(&pbuf1,"cmpvref %i\n\radcvref %i\n\rdscale  %8.6f\n\r12V %12.3f\n\r",
pcf->padc->intern.adccmpvref,
pcf->padc->intern.adcfilvref,
pcf->padc->v12.dscale,
dt1);

#endif

  } // END OF FOR LOOP

  /* USER CODE END 5 */
}

void HAL_TIM_PeriodElapsedCallback(TIM_HandleTypeDef *htim)
{
  if (htim->Instance == TIM2) {
    HAL_IncTick();
  }
}

void Error_Handler(void)
{
  /* USER CODE BEGIN Error_Handler_Debug */
  /* User can add his own implementation to report the HAL error return state */
	morse_trap(m_trap); // Trap any HAL Init

  /* USER CODE END Error_Handler_Debug */
}

#ifdef  USE_FULL_ASSERT
/**
  * @brief  Reports the name of the source file and the source line number
  *         where the assert_param error has occurred.
  * @param  file: pointer to the source file name
  * @param  line: assert_param error line source number
  * @retval None
  */
void assert_failed(uint8_t *file, uint32_t line)
{
  /* USER CODE BEGIN 6 */
  /* User can add his own implementation to report the file name and line number,
     tex: printf("Wrong parameters value: file %s on line %d\r\n", file, line) */
morse_trap(71);
  /* USER CODE END 6 */
}
#endif /* USE_FULL_ASSERT */

/************************ (C) COPYRIGHT STMicroelectronics *****END OF FILE****/
